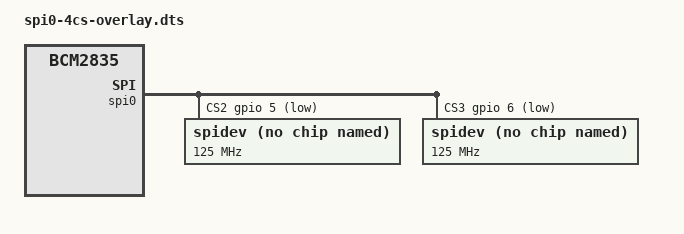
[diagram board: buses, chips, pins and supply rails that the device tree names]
/dts-v1/;
/plugin/;

/*
 * Extra SPI0 chip-selects for the third V6 HAT.
 *
 * Stock overlays stop at spi0-2cs (CE0 GPIO8 / pin 24, CE1 GPIO7 / pin 26).
 * V4/V6 solder jumpers SJ_SPI0_CE2 and SJ_SPI0_CE3 land on Pi header pins
 * 29 and 31 (BCM GPIO5 and GPIO6). This overlay keeps those two CS pins and
 * adds CE2/CE3 so column 33 can sit on SPI0 with the second HAT.
 */

/ {
	compatible = "brcm,bcm2835";

	fragment@0 {
		target = <&spi0>;
		__overlay__ {
			#address-cells = <1>;
			#size-cells = <0>;
			num-cs = <4>;
			cs-gpios = <&gpio 8 1>, <&gpio 7 1>, <&gpio 5 1>, <&gpio 6 1>;
			status = "okay";

			spidev@2 {
				compatible = "spidev";
				reg = <2>;
				#address-cells = <1>;
				#size-cells = <0>;
				spi-max-frequency = <125000000>;
				status = "okay";
			};

			spidev@3 {
				compatible = "spidev";
				reg = <3>;
				#address-cells = <1>;
				#size-cells = <0>;
				spi-max-frequency = <125000000>;
				status = "okay";
			};
		};
	};
};
